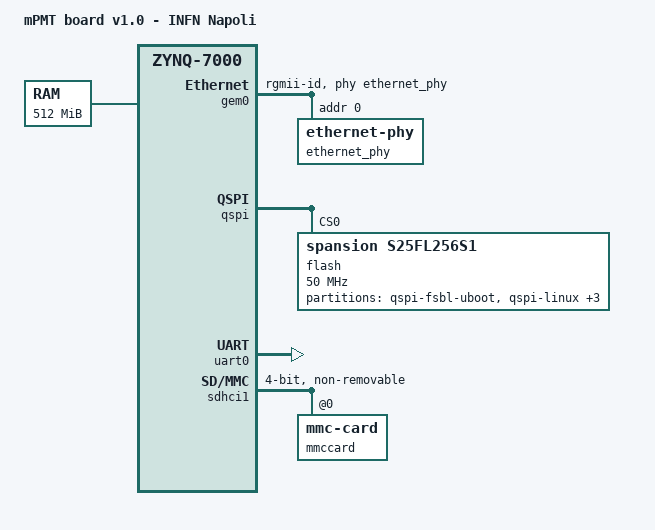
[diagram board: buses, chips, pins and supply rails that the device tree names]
/*
 *    mPMT board v1.0 - INFN Napoli
 */


/dts-v1/;
#include "zynq-7000.dtsi"

/ {
	model = "mPMT board v1.0 - INFN Napoli";
	compatible = "avnet,minized", "xlnx,zynq-7000";

	aliases {
		serial0 = &uart0;
      ethernet0 = &gem0;
		spi0 = &qspi;
		mmc0 = &sdhci0;
	};

   cpus {
		cpu@0 {
			operating-points = <400000 1000000>;
		};
	};

	memory@0 {
		device_type = "memory";
		reg = <0x0 0x20000000>;
	};

	chosen {
		bootargs = "";
		stdout-path = "serial0:115200n8";
	};
};

&clkc {
   ps-clk-frequency = <50000000>;
};

&gem0 {
   status = "okay";
   phy-mode = "rgmii-id";
   phy-handle = <&ethernet_phy>;

   ethernet_phy: ethernet-phy@0 {
      reg = <0>;
      device_type = "ethernet-phy";
   };
};

&qspi {
   u-boot,dm-pre-reloc;
   status = "okay";
   is-dual = <0>;
   num-cs = <1>;
   flash@0 {
      compatible = "spansion,s25fl256s1", "jedec,spi-nor";
      reg = <0>;
      spi-tx-bus-width = <1>;
      spi-rx-bus-width = <4>;
      spi-max-frequency = <50000000>;
      m25p,fast-read;
      #address-cells = <1>;
      #size-cells = <1>;
      partition@qspi-fsbl-uboot {
         label = "qspi-fsbl-uboot";
         reg = <0x0 0x100000>;
      };
      partition@qspi-linux {
         label = "qspi-linux";
         reg = <0x100000 0x500000>;
      };
      partition@qspi-device-tree {
         label = "qspi-device-tree";
         reg = <0x600000 0x20000>;
      };
      partition@qspi-rootfs {
         label = "qspi-rootfs";
         reg = <0x620000 0x5E0000>;
      };
      partition@qspi-bitstream {
         label = "qspi-bitstream";
         reg = <0xC00000 0x400000>;
      };
   };
};

&uart0 {
	u-boot,dm-pre-reloc;
	status = "okay";
};

&sdhci1 {
	status = "okay";
	non-removable;
	bus-width = <4>;
	max-frequency = <12000000>;

	#address-cells = <1>;
	#size-cells = <0>;
	mmccard: mmccard@0 {
		compatible = "mmc-card";
		reg = <0>;
		broken-hpi;
	};
};
